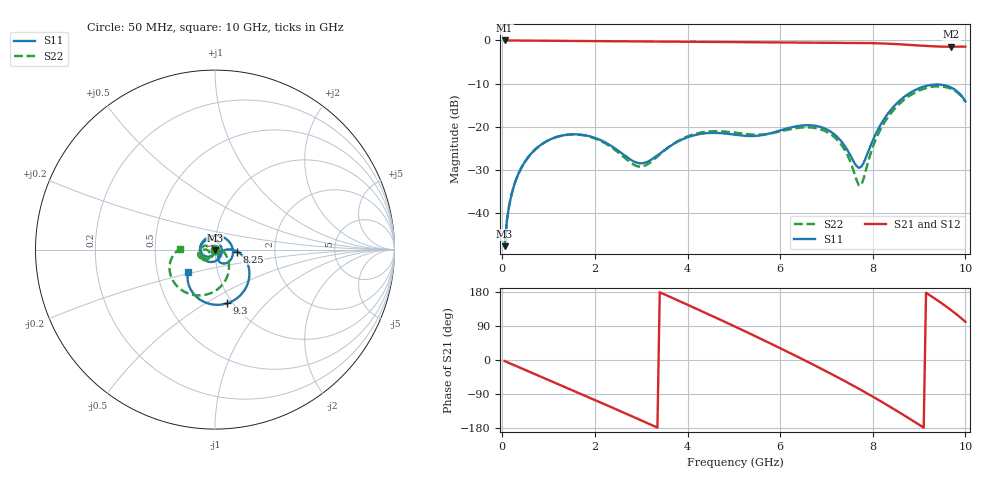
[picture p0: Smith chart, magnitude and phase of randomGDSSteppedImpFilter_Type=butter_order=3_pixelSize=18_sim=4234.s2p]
! freq	dB(S11)	phase(S11)	dB(S12)	phase(S12)
!  dB(S21)	phase(S21)	dB(S22)	phase(S22)
!S-par simulation data
#  GHz  S  DB  R 50
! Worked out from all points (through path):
!   200 points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, 50 MHz to 10 GHz, reference 50 ohm
!   highest |S21| = -0.01 dB at 50 MHz (marker M1); lowest = -1.5 dB at 9.7 GHz (marker M2)
!   group delay of S21, straight-line fit = 166 ps
!   lowest |S11| = -47.7 dB at 50 MHz (marker M3), VSWR 1.01, Z = 50 - j0.412 ohm
!   |S11| at or under -10 dB: start of sweep to end of sweep
!   |S22| runs from -47.7 to -10.6 dB; largest |S21 - S12| = 0
!   S11 on the Smith chart (normalised r, x): 50 MHz: 1.00, -0.01; 8.25 GHz: 1.28, -0.03; 9.3 GHz: 0.95, -0.62; 10 GHz: 0.72, -0.19
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0.05  -47.69 -91.8  -0.01 -2.7  -0.01 -2.7  -47.69 -91.0
0.1  -41.68 -95.3  -0.01 -5.4  -0.01 -5.4  -41.67 -93.7
0.2  -35.67 -101.5  -0.02 -10.7  -0.02 -10.7  -35.66 -98.4
0.5  -27.95 -120.1  -0.04 -26.5  -0.04 -26.5  -27.94 -112.5
1.15  -22.46 -161.4  -0.09 -60.7  -0.09 -60.7  -22.47 -141.9
1.75  -21.92 158.2  -0.14 -92.4  -0.14 -92.4  -21.99 -165.6
2.7  -27.13 66.1  -0.18 -143.1  -0.18 -143.1  -27.74 -174.7
3  -28.49 14.6  -0.20 -159.4  -0.20 -159.4  -29.26 -152.2
3.4  -26.23 -51.2  -0.24 178.8  -0.24 178.8  -26.43 -127.5
4.3  -21.64 -142.2  -0.33 129.1  -0.33 129.1  -21.33 -137.2
5.05  -21.89 143.6  -0.38 86.8  -0.38 86.8  -21.41 -149.5
5.5  -22.11 88.7  -0.40 60.7  -0.40 60.7  -21.85 -148.6
5.95  -21.04 34.1  -0.43 34.1  -0.43 34.1  -21.23 -146.6
6.7  -19.71 -35.4  -0.50 -11.4  -0.50 -11.4  -20.22 -163.9
7.3  -23.12 -70.8  -0.54 -49.4  -0.54 -49.4  -23.88 161.6
7.7  -29.53 -40.9  -0.57 -75.9  -0.57 -75.9  -33.59 79.4
8.25  -18.14 -5.0  -0.72 -114.5  -0.72 -114.5  -19.05 -46.3
8.35  -16.65 -10.0  -0.76 -121.7  -0.76 -121.7  -17.45 -54.7
8.85  -11.87 -42.7  -1.07 -159.1  -1.07 -159.1  -12.46 -93.2
9.3  -10.26 -77.1  -1.36 165.5  -1.36 165.5  -10.72 -126.9
9.7  -10.96 -111.4  -1.46 130.8  -1.46 130.8  -11.26 -157.9
10  -14.15 -140.0  -1.42 100.8  -1.42 100.8  -14.18 179.1
